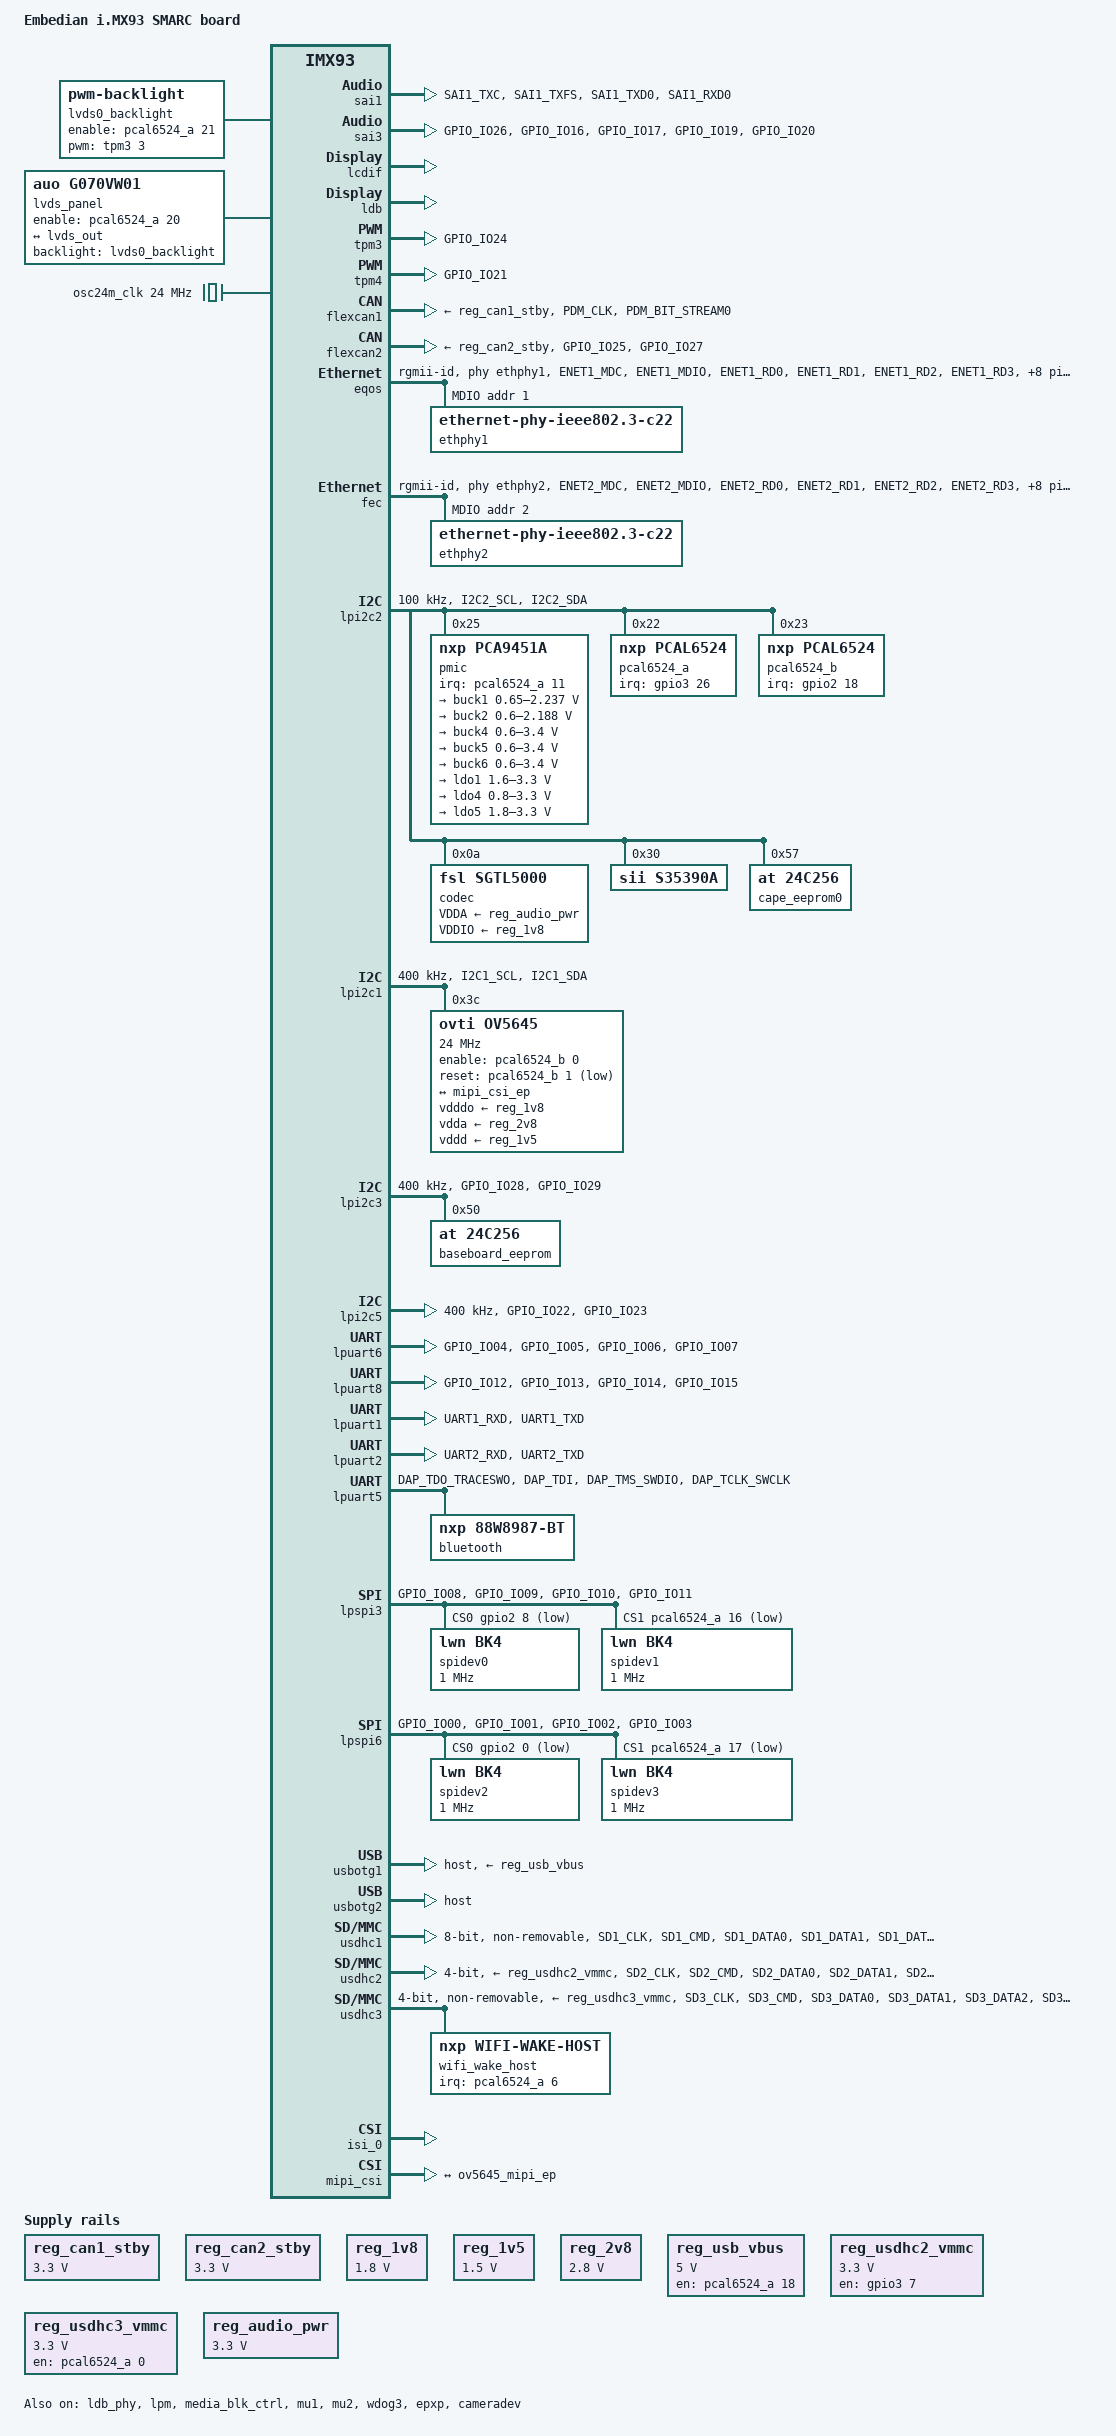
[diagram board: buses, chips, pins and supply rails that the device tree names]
// SPDX-License-Identifier: (GPL-2.0+ OR MIT)
/*
 * Copyright 2022 NXP
 * Copyright 2024 EMBEDIAN
 */

/dts-v1/;

#include <dt-bindings/usb/pd.h>
#include "../freescale/imx93.dtsi"

&ele_mu {
	memory-region = <&ele_reserved>;
};

/ {
	model = "Embedian i.MX93 SMARC board";
	compatible = "embedian,imx93-smarc", "fsl,imx93";

        chosen {
                stdout-path = &lpuart1;
        };

	reserved-memory {
		#address-cells = <2>;
		#size-cells = <2>;
		ranges;

		linux,cma {
			compatible = "shared-dma-pool";
			reusable;
			alloc-ranges = <0 0x80000000 0 0x40000000>;
			size = <0 0x10000000>;
			linux,cma-default;
		};

		ethosu_mem: ethosu_region@C0000000 {
			compatible = "shared-dma-pool";
			reusable;
			reg = <0x0 0xC0000000 0x0 0x10000000>;
		};

		vdev0vring0: vdev0vring0@a4000000 {
			reg = <0 0xa4000000 0 0x8000>;
			no-map;
		};

		vdev0vring1: vdev0vring1@a4008000 {
			reg = <0 0xa4008000 0 0x8000>;
			no-map;
		};

		vdev1vring0: vdev1vring0@a4000000 {
			reg = <0 0xa4010000 0 0x8000>;
			no-map;
		};

		vdev1vring1: vdev1vring1@a4018000 {
			reg = <0 0xa4018000 0 0x8000>;
			no-map;
		};

		rsc_table: rsc-table@2021e000 {
			reg = <0 0x2021e000 0 0x1000>;
			no-map;
		};

		vdevbuffer: vdevbuffer@a4020000 {
			compatible = "shared-dma-pool";
			reg = <0 0xa4020000 0 0x100000>;
			no-map;
		};

		ele_reserved: ele-reserved@a4120000 {
			compatible = "shared-dma-pool";
			reg = <0 0xa4120000 0 0x100000>;
			no-map;
		};
	};

	cm33: imx93-cm33 {
		compatible = "fsl,imx93-cm33";
		mbox-names = "tx", "rx", "rxdb";
		mboxes = <&mu1 0 1
			  &mu1 1 1
			  &mu1 3 1>;
		memory-region = <&vdevbuffer>, <&vdev0vring0>, <&vdev0vring1>,
				<&vdev1vring0>, <&vdev1vring1>, <&rsc_table>;
		fsl,startup-delay-ms = <500>;
	};

	ethosu {
		compatible = "arm,ethosu";
		fsl,cm33-proc = <&cm33>;
		memory-region = <&ethosu_mem>;
		power-domains = <&mlmix>;
	};

	lvds0_backlight: lvds0_backlight {
		compatible = "pwm-backlight";
		pwms = <&tpm3 3 100000 0>;
		enable-gpios = <&pcal6524_a 21 GPIO_ACTIVE_HIGH>;	/* Enable LCD0_BKLT pin */
		status = "okay";

		brightness-levels = < 0  1  2  3  4  5  6  7  8  9
				     10 11 12 13 14 15 16 17 18 19
				     20 21 22 23 24 25 26 27 28 29
				     30 31 32 33 34 35 36 37 38 39
				     40 41 42 43 44 45 46 47 48 49
				     50 51 52 53 54 55 56 57 58 59
				     60 61 62 63 64 65 66 67 68 69
				     70 71 72 73 74 75 76 77 78 79
				     80 81 82 83 84 85 86 87 88 89
				     90 91 92 93 94 95 96 97 98 99
				    100>;
		default-brightness-level = <80>;
	};

	lvds1_backlight: lvds1_backlight {
		compatible = "pwm-backlight";
		pwms = <&tpm4 1 100000 0>;
		enable-gpios = <&pcal6524_a 23 GPIO_ACTIVE_HIGH>;	/* Enable LCD1_BKLT pin */
		status = "disabled";

		brightness-levels = < 0  1  2  3  4  5  6  7  8  9
				     10 11 12 13 14 15 16 17 18 19
				     20 21 22 23 24 25 26 27 28 29
				     30 31 32 33 34 35 36 37 38 39
				     40 41 42 43 44 45 46 47 48 49
				     50 51 52 53 54 55 56 57 58 59
				     60 61 62 63 64 65 66 67 68 69
				     70 71 72 73 74 75 76 77 78 79
				     80 81 82 83 84 85 86 87 88 89
				     90 91 92 93 94 95 96 97 98 99
				    100>;
		default-brightness-level = <80>;
	};

	lvds_panel {
		compatible = "auo,g070vw01";
		backlight = <&lvds0_backlight>;
		enable-gpios = <&pcal6524_a 20 0>;	/* Enable LCD0_VDD_EN pin */

		port {
			panel_lvds_in: endpoint {
				remote-endpoint = <&lvds_out>;
			};
		};
	};

	reg_can1_stby: regulator-can1-stby {
		compatible = "regulator-fixed";
		regulator-name = "can1-stby";
		regulator-min-microvolt = <3300000>;
		regulator-max-microvolt = <3300000>;
	};

	reg_can2_stby: regulator-can2-stby {
		compatible = "regulator-fixed";
		regulator-name = "can2-stby";
		regulator-min-microvolt = <3300000>;
		regulator-max-microvolt = <3300000>;
	};

	reg_1v8: regulator-audio {
		compatible = "regulator-fixed";
		regulator-name = "1v8";
		regulator-min-microvolt = <1800000>;
		regulator-max-microvolt = <1800000>;
	};

	reg_1v5: 1v5 {
		compatible = "regulator-fixed";
		regulator-name = "1v5";
		regulator-min-microvolt = <1500000>;
		regulator-max-microvolt = <1500000>;
		regulator-always-on;
	};

	reg_2v8: 2v8 {
		compatible = "regulator-fixed";
		regulator-name = "2v8";
		regulator-min-microvolt = <2800000>;
		regulator-max-microvolt = <2800000>;
		regulator-always-on;
	};

	osc24m_clk: osc24m_clk {
		compatible = "fixed-clock";
		#clock-cells = <0>;
		clock-frequency = <24000000>;
	};

	reg_usb_vbus: regulator-vbus {
		compatible = "regulator-fixed";
		regulator-name = "USB_VBUS";
		regulator-min-microvolt = <5000000>;
		regulator-max-microvolt = <5000000>;
		gpio = <&pcal6524_a 18 GPIO_ACTIVE_HIGH>;
		enable-active-high;
		regulator-always-on;
	};

	reg_usdhc2_vmmc: regulator-usdhc2 {
		compatible = "regulator-fixed";
		pinctrl-names = "default";
		pinctrl-0 = <&pinctrl_reg_usdhc2_vmmc>;
		regulator-name = "VSD_3V3";
		regulator-min-microvolt = <3300000>;
		regulator-max-microvolt = <3300000>;
		gpio = <&gpio3 7 GPIO_ACTIVE_HIGH>;
		off-on-delay-us = <12000>;
		enable-active-high;
	};

	reg_usdhc3_vmmc: regulator-usdhc3 {
		compatible = "regulator-fixed";
		regulator-name = "WLAN_EN";
		regulator-min-microvolt = <3300000>;
		regulator-max-microvolt = <3300000>;
		gpio = <&pcal6524_a 0 GPIO_ACTIVE_HIGH>;
		/*
		 * IW612 wifi chip needs more delay than other wifi chips to complete
		 * the host interface initialization after power up, otherwise the
		 * internal state of IW612 may be unstable, resulting in the failure of
		 * the SDIO3.0 switch voltage.
		 */
		startup-delay-us = <20000>;
		enable-active-high;
	};

	reg_audio_pwr: regulator-audio-pwr {
		compatible = "regulator-fixed";
		regulator-name = "audio-pwr";
		regulator-min-microvolt = <3300000>;
		regulator-max-microvolt = <3300000>;
		regulator-always-on;
	};

 	sound-sgtl5000 {
 		compatible = "simple-audio-card";
 		simple-audio-card,name = "sgtl5000-audio";
 		simple-audio-card,format = "i2s";
 		simple-audio-card,widgets =
 			"Microphone", "Microphone Jack",
 			"Headphone", "Headphone Jack",
 			"Speaker", "Speaker Ext",
 			"Line", "Line In Jack";
 		simple-audio-card,routing =
 			"MIC_IN", "Microphone Jack",
 			"Microphone Jack", "Mic Bias",
 			"LINE_IN", "Line In Jack",
 			"Headphone Jack", "HP_OUT",
 			"Speaker Ext", "LINE_OUT";

 		simple-audio-card,cpu {
 			sound-dai = <&sai3>;
 			frame-master;
 			bitclock-master;
 		};

 		simple-audio-card,codec {
 			sound-dai = <&codec>;
 			frame-master;
 			bitclock-master;
 		};
 	};
};

/* I2S2 */
&sai1 {
	#sound-dai-cells = <0>;
	pinctrl-names = "default";
	pinctrl-0 = <&pinctrl_sai1>;
	assigned-clocks = <&clk IMX93_CLK_SAI1>;
	assigned-clock-parents = <&clk IMX93_CLK_AUDIO_PLL>;
	assigned-clock-rates = <24576000>;
	fsl,sai-mclk-direction-output;
	status = "okay";
};

/* I2S0 */
&sai3 {
	#sound-dai-cells = <0>;
	pinctrl-names = "default";
	pinctrl-0 = <&pinctrl_sai3>;
	assigned-clocks = <&clk IMX93_CLK_SAI3>;
	assigned-clock-parents = <&clk IMX93_CLK_AUDIO_PLL>;
	assigned-clock-rates = <24576000>;
	fsl,sai-mclk-direction-output;
	status = "okay";
};

&dphy {
	status = "disabled";
};

&dsi {
	status = "disabled";
	#address-cells = <1>;
	#size-cells = <0>;

	panel@0 {
		compatible = "raydium,rm67199";
		reg = <0>;
		dsi-lanes = <4>;
		video-mode = <2>;	/* 0: burst mode
					 * 1: non-burst mode with sync event
					 * 2: non-burst mode with sync pulse
					 */
		width-mm = <68>;
		height-mm = <121>;
		status = "okay";

		port {
			panel_in: endpoint {
			remote-endpoint = <&dsi_out>;
			};
		};
	};

	ports {
		port@1 {
			reg = <1>;

			dsi_out: endpoint {
				remote-endpoint = <&panel_in>;
			};
		};
	};
};

&lcdif {
	status = "okay";
	assigned-clock-rates = <498000000>, <32186880>, <400000000>, <133333333>;
};

&ldb {
	status = "okay";

	lvds-channel@0 {
		status = "okay";

		port@1 {
			reg = <1>;

			lvds_out: endpoint {
				remote-endpoint = <&panel_lvds_in>;
			};
		};
	};
};

&ldb_phy {
	status = "okay";
};

&tpm3 {
	pinctrl-names = "default";
	pinctrl-0 = <&pinctrl_pwm_lvds0>;
	status = "okay";
};

&tpm4 {
	pinctrl-names = "default";
	pinctrl-0 = <&pinctrl_pwm_lvds1>;
	status = "okay";
};

&flexcan1 {
	pinctrl-names = "default";
	pinctrl-0 = <&pinctrl_flexcan1>;
	xceiver-supply = <&reg_can1_stby>;
	status = "okay";
};

&flexcan2 {
	pinctrl-names = "default";
	pinctrl-0 = <&pinctrl_flexcan2>;
	xceiver-supply = <&reg_can2_stby>;
	status = "okay";
};

&eqos {
	pinctrl-names = "default";
	pinctrl-0 = <&pinctrl_eqos>;
	phy-mode = "rgmii-id";
	phy-handle = <&ethphy1>;
	status = "okay";

	mdio {
		compatible = "snps,dwmac-mdio";
		#address-cells = <1>;
		#size-cells = <0>;
		clock-frequency = <5000000>;

		ethphy1: ethernet-phy@1 {
			compatible = "ethernet-phy-ieee802.3-c22";
			reg = <1>;
			eee-broken-1000t;
		};
	};
};

&fec {
	pinctrl-names = "default";
	pinctrl-0 = <&pinctrl_fec>;
	phy-mode = "rgmii-id";
	phy-handle = <&ethphy2>;
	fsl,magic-packet;
	status = "okay";

	mdio {
		#address-cells = <1>;
		#size-cells = <0>;
		clock-frequency = <5000000>;

		ethphy2: ethernet-phy@2 {
			compatible = "ethernet-phy-ieee802.3-c22";
			reg = <2>;
			eee-broken-1000t;
		};
	};
};

&lpm {
	soc-supply = <&buck1>;
	status = "okay";
};

/* I2C_PM */
&lpi2c2 {
	#address-cells = <1>;
	#size-cells = <0>;
	clock-frequency = <100000>;
	pinctrl-names = "default", "sleep";
	pinctrl-0 = <&pinctrl_lpi2c2>;
	pinctrl-1 = <&pinctrl_lpi2c2>;
	status = "okay";

	pmic@25 {
		compatible = "nxp,pca9451a";
		reg = <0x25>;
		interrupt-parent = <&pcal6524_a>;
		interrupts = <11 IRQ_TYPE_EDGE_FALLING>;

		regulators {
			buck1: BUCK1 {
				regulator-name = "BUCK1";
				regulator-min-microvolt = <650000>;
				regulator-max-microvolt = <2237500>;
				regulator-boot-on;
				regulator-always-on;
				regulator-ramp-delay = <3125>;
			};

			buck2: BUCK2 {
				regulator-name = "BUCK2";
				regulator-min-microvolt = <600000>;
				regulator-max-microvolt = <2187500>;
				regulator-boot-on;
				regulator-always-on;
				regulator-ramp-delay = <3125>;
			};

			buck4: BUCK4{
				regulator-name = "BUCK4";
				regulator-min-microvolt = <600000>;
				regulator-max-microvolt = <3400000>;
				regulator-boot-on;
				regulator-always-on;
			};

			buck5: BUCK5{
				regulator-name = "BUCK5";
				regulator-min-microvolt = <600000>;
				regulator-max-microvolt = <3400000>;
				regulator-boot-on;
				regulator-always-on;
			};

			buck6: BUCK6 {
				regulator-name = "BUCK6";
				regulator-min-microvolt = <600000>;
				regulator-max-microvolt = <3400000>;
				regulator-boot-on;
				regulator-always-on;
			};

			ldo1: LDO1 {
				regulator-name = "LDO1";
				regulator-min-microvolt = <1600000>;
				regulator-max-microvolt = <3300000>;
				regulator-boot-on;
				regulator-always-on;
			};

			ldo4: LDO4 {
				regulator-name = "LDO4";
				regulator-min-microvolt = <800000>;
				regulator-max-microvolt = <3300000>;
				regulator-boot-on;
				regulator-always-on;
			};

			ldo5: LDO5 {
				regulator-name = "LDO5";
				regulator-min-microvolt = <1800000>;
				regulator-max-microvolt = <3300000>;
				regulator-boot-on;
				regulator-always-on;
			};
		};
	};

	/*
	 * PCAL6524 24-port GPIO expander
	 *  0-W_DISABLE1#
	 *  1-SD_INT#
	 *  2-WL_RESET#
	 *  3-BT_RESET#
	 *  4-WL_WAKE_OUT#
	 *  5-BT_WAKE_OUT#
	 *  6-WL_WAKE_IN#
         *  7-BT_WAKE_IN#
	 *  8-TPM_IRQ#
	 *  9-TPM_PP#
	 * 10-SD2_WP#
	 * 11-PMIC_INT#
	 * 12-WLAN_PWR_EN
	 * 13-ENET1_INT#
	 * 14-ENET2_INT#
	 * 15-x
	 * 16-SPI0_CS1
	 * 17-eSPI_CS1
	 * 18-USB1_EN
	 * 19-USB1_OC#
	 * 20-LCD0_VDD_EN
	 * 21-LCD0_BKLT_EN
	 * 22-LCD1_VDD_EN
	 * 23-LCD1_BKLT_EN
	 */
	pcal6524_a: gpio@22 {
		compatible = "nxp,pcal6524";
		pinctrl-names = "default";
		pinctrl-0 = <&pinctrl_pcal6524_a>;
		reg = <0x22>;
		gpio-controller;
		#gpio-cells = <2>;
		interrupt-controller;
		#interrupt-cells = <2>;
		interrupt-parent = <&gpio3>;
		interrupts = <26 IRQ_TYPE_LEVEL_LOW>;

		sd_int_hog {
			gpio-hog;
			gpios = <1 GPIO_ACTIVE_LOW>;
			input;
			line-name = "sd_int";
		};

		wl_reset_hog {
			gpio-hog;
			gpios = <2 GPIO_ACTIVE_LOW>;
			output-high;
			line-name = "wl_reset";
		};

		bt_reset_hog {
			gpio-hog;
			gpios = <3 GPIO_ACTIVE_LOW>;
			output-high;
			line-name = "bt_reset";
		};

		wl_wake_out_hog {
			gpio-hog;
			gpios = <4 GPIO_ACTIVE_LOW>;
			output-low;
			line-name = "wl_wake_out";
		};

		bt_wake_out_hog {
			gpio-hog;
			gpios = <5 GPIO_ACTIVE_LOW>;
			output-low;
			line-name = "bt_wake_out";
		};

		wl_wake_in_hog {
			gpio-hog;
			gpios = <6 GPIO_ACTIVE_LOW>;
			input;
			line-name = "wl_wake_in";
		};

		bt_wake_in_hog {
			gpio-hog;
			gpios = <7 GPIO_ACTIVE_LOW>;
			input;
			line-name = "bt_wake_in";
		};

		tpm_irq_hog {
			gpio-hog;
			gpios = <8 GPIO_ACTIVE_LOW>;
			input;
			line-name = "tpm_irq";
		};

		sd2_wp_hog {
			gpio-hog;
			gpios = <10 GPIO_ACTIVE_HIGH>;
			input;
			line-name = "sd2_wp";
		};

		pmic_int_hog {
			gpio-hog;
			gpios = <11 GPIO_ACTIVE_LOW>;
			input;
			line-name = "pmic_int";
		};

		enet1_int_hog {
			gpio-hog;
			gpios = <13 GPIO_ACTIVE_LOW>;
			input;
			line-name = "enet1_init";
		};

		enet2_int_hog {
			gpio-hog;
			gpios = <14 GPIO_ACTIVE_LOW>;
			input;
			line-name = "enet2_init";
		};

		usb0_oc_hog {
			gpio-hog;
			gpios = <19 GPIO_ACTIVE_LOW>;
			input;
			line-name = "usb0_oc";
		};
	};

	/*
	 * PCAL6524 24-port GPIO expander
	 *  0-GPIO0
	 *  1-GPIO1
	 *  2-GPIO2
	 *  3-GPIO3
	 *  4-GPIO4
	 *  5-GPIO6
	 *  6-GPIO7
	 *  7-GPIO8
	 *  8-GPIO9
	 *  9-GPIO10
	 * 10-GPIO11
	 * 11-GPIO12
	 * 12-GPIO13
	 * 13-x
	 * 14-x
	 * 15-IMX_RESET_OUT
	 * 16-LID#
	 * 17-SLEEP#
	 * 18-CHARGING#
	 * 19-BATLOW#
	 * 20-CHARGER_PRSNT#
	 * 21-BOOT_SEL0#
	 * 22-BOOT_SEL1#
	 * 23-BOOT_SEL2#
	 */
	pcal6524_b: gpio@23 {
		compatible = "nxp,pcal6524";
		pinctrl-names = "default";
		pinctrl-0 = <&pinctrl_pcal6524_b>;
		reg = <0x23>;
		gpio-controller;
		#gpio-cells = <2>;
		interrupt-controller;
		#interrupt-cells = <2>;
		interrupt-parent = <&gpio2>;
		interrupts = <18 IRQ_TYPE_LEVEL_LOW>;

		gpio6_hog {
			gpio-hog;
			gpios = <5 GPIO_ACTIVE_HIGH>;
			input;
			line-name = "gpio6";
		};

		gpio7_hog {
			gpio-hog;
			gpios = <6 GPIO_ACTIVE_HIGH>;
			input;
			line-name = "gpio7";
		};

		gpio8_hog {
			gpio-hog;
			gpios = <7 GPIO_ACTIVE_HIGH>;
			input;
			line-name = "gpio8";
		};

		gpio9_hog {
			gpio-hog;
			gpios = <8 GPIO_ACTIVE_HIGH>;
			input;
			line-name = "gpio9";
		};

		gpio10_hog {
			gpio-hog;
			gpios = <9 GPIO_ACTIVE_HIGH>;
			input;
			line-name = "gpio10";
		};

		gpio11_hog {
			gpio-hog;
			gpios = <10 GPIO_ACTIVE_HIGH>;
			input;
			line-name = "gpio11";
		};

		gpio12_hog {
			gpio-hog;
			gpios = <11 GPIO_ACTIVE_HIGH>;
			input;
			line-name = "gpio12";
		};

		gpio13_hog {
			gpio-hog;
			gpios = <12 GPIO_ACTIVE_HIGH>;
			input;
			line-name = "gpio13";
		};

		imx_reset_out_hog {
			gpio-hog;
			gpios = <15 GPIO_ACTIVE_HIGH>;
			output-low;
			line-name = "imx_reset_out";
		};

		lid_hog {
			gpio-hog;
			gpios = <16 GPIO_ACTIVE_LOW>;
			input;
			line-name = "lid";
		};

		sleep_hog {
			gpio-hog;
			gpios = <17 GPIO_ACTIVE_LOW>;
			input;
			line-name = "sleep";
		};

		charging_hog {
			gpio-hog;
			gpios = <18 GPIO_ACTIVE_LOW>;
			input;
			line-name = "charging";
		};

		batlow_hog {
			gpio-hog;
			gpios = <19 GPIO_ACTIVE_LOW>;
			input;
			line-name = "batlow";
		};

		charger_prsnt_hog {
			gpio-hog;
			gpios = <20 GPIO_ACTIVE_LOW>;
			input;
			line-name = "charger_prsnt";
		};

		boot_sel0_hog {
			gpio-hog;
			gpios = <21 GPIO_ACTIVE_LOW>;
			input;
			line-name = "boot_sel0";
		};

		boot_sel1_hog {
			gpio-hog;
			gpios = <22 GPIO_ACTIVE_LOW>;
			input;
			line-name = "boot_sel1";
		};

		boot_sel2_hog {
			gpio-hog;
			gpios = <23 GPIO_ACTIVE_LOW>;
			input;
			line-name = "boot_sel2";
		};
	};

	codec: sgtl5000@a {
		compatible = "fsl,sgtl5000";
		reg = <0x0a>;
		clocks = <&clk IMX93_CLK_SAI3_GATE>;
		clock-names = "mclk";
		VDDA-supply = <&reg_audio_pwr>;
		VDDIO-supply = <&reg_1v8>;
		#sound-dai-cells = <0>;
		status = "okay";
	};

	s35390a: s35390a@30 {
		compatible = "sii,s35390a";
		reg = <0x30>;
	};

	cape_eeprom0: cape_eeprom@57 {
		compatible = "at,24c256";
		reg = <0x57>;
	};

	/* TPM */
	st33htpi: st33htpi@2e{
		compatible = "st,st33htpm-i2c";
		reg = <0x2e>;
		status = "disabled";
	};
};

/* I2C_CAM0 */
&lpi2c1 {
	#address-cells = <1>;
	#size-cells = <0>;
	clock-frequency = <400000>;
	pinctrl-names = "default", "sleep";
	pinctrl-0 = <&pinctrl_lpi2c1>;
	pinctrl-1 = <&pinctrl_lpi2c1>;
	status = "okay";

	ov5645: ov5645_mipi@3c {
		compatible = "ovti,ov5645";
		reg = <0x3c>;
		clocks = <&osc24m_clk>;
		clock-frequency = <24000000>;
		clock-names = "xclk";
		vdddo-supply = <&reg_1v8>;
		vdda-supply = <&reg_2v8>;
		vddd-supply = <&reg_1v5>;
		csi_id = <1>;
		enable-gpios = <&pcal6524_b 0 GPIO_ACTIVE_HIGH>;	/* GPIO0 */
		reset-gpios = <&pcal6524_b 1 GPIO_ACTIVE_LOW>;		/* GPIO1 */
		status = "okay";

		port {
			ov5645_mipi_ep: endpoint {
				remote-endpoint = <&mipi_csi_ep>;
				data-lanes = <1 2>;
				clock-lanes = <0>;
			};
		};
	};
};

/* I2C_GP */
&lpi2c3 {
	#address-cells = <1>;
	#size-cells = <0>;
	clock-frequency = <400000>;
	pinctrl-names = "default", "sleep";
	pinctrl-0 = <&pinctrl_lpi2c3>;
	pinctrl-1 = <&pinctrl_lpi2c3>;
	status = "okay";

	baseboard_eeprom: baseboard_eeprom@50 {
	compatible = "at,24c256";
                reg = <0x50>;
	};
};

/* I2C_LCD */
&lpi2c5 {
	#address-cells = <1>;
	#size-cells = <0>;
	clock-frequency = <400000>;
	pinctrl-names = "default", "sleep";
	pinctrl-0 = <&pinctrl_lpi2c5>;
	pinctrl-1 = <&pinctrl_lpi2c5>;
	status = "okay";
};

&lpuart6 { /* SER0 */
	pinctrl-names = "default";
	pinctrl-0 = <&pinctrl_uart6>;
	status = "okay";
};

&lpuart8 { /* SER2 */
	pinctrl-names = "default";
	pinctrl-0 = <&pinctrl_uart8>;
	status = "okay";
};

&lpuart1 { /* console, SER3 */
	pinctrl-names = "default";
	pinctrl-0 = <&pinctrl_uart1>;
	status = "okay";
};

&lpuart2 { /* SER1 */
	pinctrl-names = "default";
	pinctrl-0 = <&pinctrl_uart2>;
	status = "okay";
};

&lpuart5 {
	/* BT */
	pinctrl-names = "default";
	pinctrl-0 = <&pinctrl_uart5>;
	status = "okay";

	bluetooth {
		compatible = "nxp,88w8987-bt";
	};
};

/* SPI0 */
&lpspi3 {
	fsl,spi-num-chipselects = <2>;
	pinctrl-names = "default";
	pinctrl-0 = <&pinctrl_lpspi3>;
	cs-gpios = <&gpio2 8 GPIO_ACTIVE_LOW>, <&pcal6524_a 16 GPIO_ACTIVE_LOW>;
	status = "okay";

	spidev0: spi@0 {
		reg = <0>;
		compatible = "lwn,bk4";
		spi-max-frequency = <1000000>;
	};

	spidev1: spi@1 {
		reg = <1>;
		compatible = "lwn,bk4";
		spi-max-frequency = <1000000>;
	};
};

/* eSPI */
&lpspi6 {
	fsl,spi-num-chipselects = <2>;
	pinctrl-names = "default";
	pinctrl-0 = <&pinctrl_lpspi6>;
	cs-gpios = <&gpio2 0 GPIO_ACTIVE_LOW>, <&pcal6524_a 17 GPIO_ACTIVE_LOW>;
	status = "okay";

	spidev2: spi@0 {
		reg = <0>;
		compatible = "lwn,bk4";
		spi-max-frequency = <1000000>;
	};

	spidev3: spi@1 {
		reg = <1>;
		compatible = "lwn,bk4";
		spi-max-frequency = <1000000>;
	};
};

&media_blk_ctrl {
	status = "okay";
};

&mu1 {
	status = "okay";
};

&mu2 {
	status = "okay";
};

&usbotg1 {
	vbus-supply = <&reg_usb_vbus>;
	dr_mode = "host";
	hnp-disable;
	srp-disable;
	adp-disable;
	usb-role-switch;
	disable-over-current;
	samsung,picophy-pre-emp-curr-control = <3>;
	samsung,picophy-dc-vol-level-adjust = <7>;
	status = "okay";
};

&usbotg2 {
	dr_mode = "host";
	hnp-disable;
	srp-disable;
	adp-disable;
	usb-role-switch;
	disable-over-current;
	samsung,picophy-pre-emp-curr-control = <3>;
	samsung,picophy-dc-vol-level-adjust = <7>;
	status = "okay";
};

&usdhc1 {
	pinctrl-names = "default", "state_100mhz", "state_200mhz";
	pinctrl-0 = <&pinctrl_usdhc1>;
	pinctrl-1 = <&pinctrl_usdhc1_100mhz>;
	pinctrl-2 = <&pinctrl_usdhc1_200mhz>;
	bus-width = <8>;
	non-removable;
	status = "okay";
};

&usdhc2 {
	pinctrl-names = "default", "state_100mhz", "state_200mhz";
	pinctrl-0 = <&pinctrl_usdhc2>, <&pinctrl_usdhc2_gpio>;
	pinctrl-1 = <&pinctrl_usdhc2_100mhz>, <&pinctrl_usdhc2_gpio>;
	pinctrl-2 = <&pinctrl_usdhc2_200mhz>, <&pinctrl_usdhc2_gpio>;
	cd-gpios = <&gpio3 00 GPIO_ACTIVE_LOW>;
	vmmc-supply = <&reg_usdhc2_vmmc>;
	bus-width = <4>;
	status = "okay";
	no-sdio;
	no-mmc;
};

&usdhc3 {
	pinctrl-names = "default", "state_100mhz", "state_200mhz";
	pinctrl-0 = <&pinctrl_usdhc3>;
	pinctrl-1 = <&pinctrl_usdhc3_100mhz>;
	pinctrl-2 = <&pinctrl_usdhc3_200mhz>;
	vmmc-supply = <&reg_usdhc3_vmmc>;
	pinctrl-assert-gpios = <&pcal6524_a 12 GPIO_ACTIVE_HIGH>;
	bus-width = <4>;
	keep-power-in-suspend;
	non-removable;
	wakeup-source;
	fsl,sdio-async-interrupt-enabled;
	status = "okay";

	wifi_wake_host {
		compatible = "nxp,wifi-wake-host";
		interrupt-parent = <&pcal6524_a>;
		interrupts = <6 IRQ_TYPE_LEVEL_LOW>;
		interrupt-names = "host-wake";
	};
};

&wdog3 {
	status = "okay";
};

&iomuxc {
	pinctrl_flexcan1: flexcan1grp {
		fsl,pins = <
			MX93_PAD_PDM_CLK__CAN1_TX		0x139e
			MX93_PAD_PDM_BIT_STREAM0__CAN1_RX	0x139e
		>;
	};

	pinctrl_flexcan2: flexcan2grp {
		fsl,pins = <
			MX93_PAD_GPIO_IO25__CAN2_TX	0x139e
			MX93_PAD_GPIO_IO27__CAN2_RX	0x139e
		>;
	};

	/* I2C_CAM0 */
	pinctrl_lpi2c1: lpi2c1grp {
		fsl,pins = <
			MX93_PAD_I2C1_SCL__LPI2C1_SCL			0x40000b9e
			MX93_PAD_I2C1_SDA__LPI2C1_SDA			0x40000b9e
		>;
	};

	pinctrl_lpi2c2: lpi2c2grp {
		fsl,pins = <
			MX93_PAD_I2C2_SCL__LPI2C2_SCL			0x40000b9e
			MX93_PAD_I2C2_SDA__LPI2C2_SDA			0x40000b9e
		>;
	};

	pinctrl_lpi2c3: lpi2c3grp {
		fsl,pins = <
			MX93_PAD_GPIO_IO28__LPI2C3_SDA			0x40000b9e
			MX93_PAD_GPIO_IO29__LPI2C3_SCL			0x40000b9e
		>;
	};

	pinctrl_lpi2c5: lpi2c5grp {
		fsl,pins = <
			MX93_PAD_GPIO_IO22__LPI2C5_SDA			0x40000b9e
			MX93_PAD_GPIO_IO23__LPI2C5_SCL			0x40000b9e
		>;
	};

	pinctrl_pcal6524_a: pcal6524_agrp {
		fsl,pins = <
			MX93_PAD_CCM_CLKO1__GPIO3_IO26			0x31e
                >;
        };

	pinctrl_pcal6524_b: pcal6524_bgrp {
		fsl,pins = <
			MX93_PAD_GPIO_IO18__GPIO2_IO18			0x31e
		>;
	};

	pinctrl_eqos: eqosgrp {
		fsl,pins = <
			MX93_PAD_ENET1_MDC__ENET_QOS_MDC			0x57e
			MX93_PAD_ENET1_MDIO__ENET_QOS_MDIO			0x57e
			MX93_PAD_ENET1_RD0__ENET_QOS_RGMII_RD0			0x57e
			MX93_PAD_ENET1_RD1__ENET_QOS_RGMII_RD1			0x57e
			MX93_PAD_ENET1_RD2__ENET_QOS_RGMII_RD2			0x57e
			MX93_PAD_ENET1_RD3__ENET_QOS_RGMII_RD3			0x57e
			MX93_PAD_ENET1_RXC__CCM_ENET_QOS_CLOCK_GENERATE_RX_CLK	0x5fe
			MX93_PAD_ENET1_RX_CTL__ENET_QOS_RGMII_RX_CTL		0x57e
			MX93_PAD_ENET1_TD0__ENET_QOS_RGMII_TD0			0x57e
			MX93_PAD_ENET1_TD1__ENET_QOS_RGMII_TD1			0x57e
			MX93_PAD_ENET1_TD2__ENET_QOS_RGMII_TD2			0x57e
			MX93_PAD_ENET1_TD3__ENET_QOS_RGMII_TD3			0x57e
			MX93_PAD_ENET1_TXC__CCM_ENET_QOS_CLOCK_GENERATE_TX_CLK	0x5fe
			MX93_PAD_ENET1_TX_CTL__ENET_QOS_RGMII_TX_CTL		0x57e
		>;
	};

	pinctrl_fec: fecgrp {
		fsl,pins = <
			MX93_PAD_ENET2_MDC__ENET1_MDC			0x57e
			MX93_PAD_ENET2_MDIO__ENET1_MDIO			0x57e
			MX93_PAD_ENET2_RD0__ENET1_RGMII_RD0		0x57e
			MX93_PAD_ENET2_RD1__ENET1_RGMII_RD1		0x57e
			MX93_PAD_ENET2_RD2__ENET1_RGMII_RD2		0x57e
			MX93_PAD_ENET2_RD3__ENET1_RGMII_RD3		0x57e
			MX93_PAD_ENET2_RXC__ENET1_RGMII_RXC		0x5fe
			MX93_PAD_ENET2_RX_CTL__ENET1_RGMII_RX_CTL	0x57e
			MX93_PAD_ENET2_TD0__ENET1_RGMII_TD0		0x57e
			MX93_PAD_ENET2_TD1__ENET1_RGMII_TD1		0x57e
			MX93_PAD_ENET2_TD2__ENET1_RGMII_TD2		0x57e
			MX93_PAD_ENET2_TD3__ENET1_RGMII_TD3		0x57e
			MX93_PAD_ENET2_TXC__ENET1_RGMII_TXC		0x5fe
			MX93_PAD_ENET2_TX_CTL__ENET1_RGMII_TX_CTL	0x57e
		>;
	};

	pinctrl_uart1: uart1grp {
		fsl,pins = <
			MX93_PAD_UART1_RXD__LPUART1_RX			0x31e
			MX93_PAD_UART1_TXD__LPUART1_TX			0x31e
		>;
	};

	pinctrl_uart2: uart2grp {
		fsl,pins = <
			MX93_PAD_UART2_RXD__LPUART2_RX			0x31e
			MX93_PAD_UART2_TXD__LPUART2_TX			0x31e
		>;
	};

	pinctrl_uart5: uart5grp {
		fsl,pins = <
			MX93_PAD_DAP_TDO_TRACESWO__LPUART5_TX	0x31e
			MX93_PAD_DAP_TDI__LPUART5_RX		0x31e
			MX93_PAD_DAP_TMS_SWDIO__LPUART5_RTS_B	0x31e
			MX93_PAD_DAP_TCLK_SWCLK__LPUART5_CTS_B	0x31e
		>;
	};

	pinctrl_uart6: uart6grp {
		fsl,pins = <
			MX93_PAD_GPIO_IO04__LPUART6_TX		0x31e
			MX93_PAD_GPIO_IO05__LPUART6_RX		0x31e
			MX93_PAD_GPIO_IO06__LPUART6_CTS_B	0x31e
			MX93_PAD_GPIO_IO07__LPUART6_RTS_B	0x31e
		>;
	};

        pinctrl_uart8: uart8grp {
		fsl,pins = <
			MX93_PAD_GPIO_IO12__LPUART8_TX		0x31e
			MX93_PAD_GPIO_IO13__LPUART8_RX		0x31e
			MX93_PAD_GPIO_IO14__LPUART8_CTS_B	0x31e
			MX93_PAD_GPIO_IO15__LPUART8_RTS_B	0x31e
		>;
	};

	pinctrl_pwm_lvds0: pwmlvds0grp {
		fsl,pins = <
			MX93_PAD_GPIO_IO24__TPM3_CH3		0x57e
                >;
        };

	pinctrl_pwm_lvds1: pwmlvds1grp {
		fsl,pins = <
			MX93_PAD_GPIO_IO21__TPM4_CH1		0x57e
		>;
	};

	pinctrl_lpspi3: lpspi3grp {
		fsl,pins = <
			MX93_PAD_GPIO_IO08__GPIO2_IO08		0x3fe
			MX93_PAD_GPIO_IO09__LPSPI3_SIN		0x3fe
			MX93_PAD_GPIO_IO10__LPSPI3_SOUT		0x3fe
			MX93_PAD_GPIO_IO11__LPSPI3_SCK		0x3fe
		>;
	};

	pinctrl_lpspi6: lpspi6grp {
		fsl,pins = <
			MX93_PAD_GPIO_IO00__GPIO2_IO00		0x3fe
			MX93_PAD_GPIO_IO01__LPSPI6_SIN		0x3fe
			MX93_PAD_GPIO_IO02__LPSPI6_SOUT		0x3fe
			MX93_PAD_GPIO_IO03__LPSPI6_SCK		0x3fe
		>;
	};

	/* need to config the SION for data and cmd pad, refer to ERR052021 */
	pinctrl_usdhc1: usdhc1grp {
		fsl,pins = <
			MX93_PAD_SD1_CLK__USDHC1_CLK		0x1582
			MX93_PAD_SD1_CMD__USDHC1_CMD		0x40001382
			MX93_PAD_SD1_DATA0__USDHC1_DATA0	0x40001382
			MX93_PAD_SD1_DATA1__USDHC1_DATA1	0x40001382
			MX93_PAD_SD1_DATA2__USDHC1_DATA2	0x40001382
			MX93_PAD_SD1_DATA3__USDHC1_DATA3	0x40001382
			MX93_PAD_SD1_DATA4__USDHC1_DATA4	0x40001382
			MX93_PAD_SD1_DATA5__USDHC1_DATA5	0x40001382
			MX93_PAD_SD1_DATA6__USDHC1_DATA6	0x40001382
			MX93_PAD_SD1_DATA7__USDHC1_DATA7	0x40001382
			MX93_PAD_SD1_STROBE__USDHC1_STROBE	0x1582
		>;
	};

	/* need to config the SION for data and cmd pad, refer to ERR052021 */
	pinctrl_usdhc1_100mhz: usdhc1-100mhzgrp {
		fsl,pins = <
			MX93_PAD_SD1_CLK__USDHC1_CLK		0x158e
			MX93_PAD_SD1_CMD__USDHC1_CMD		0x4000138e
			MX93_PAD_SD1_DATA0__USDHC1_DATA0	0x4000138e
			MX93_PAD_SD1_DATA1__USDHC1_DATA1	0x4000138e
			MX93_PAD_SD1_DATA2__USDHC1_DATA2	0x4000138e
			MX93_PAD_SD1_DATA3__USDHC1_DATA3	0x4000138e
			MX93_PAD_SD1_DATA4__USDHC1_DATA4	0x4000138e
			MX93_PAD_SD1_DATA5__USDHC1_DATA5	0x4000138e
			MX93_PAD_SD1_DATA6__USDHC1_DATA6	0x4000138e
			MX93_PAD_SD1_DATA7__USDHC1_DATA7	0x4000138e
			MX93_PAD_SD1_STROBE__USDHC1_STROBE	0x158e
		>;
	};

	/* need to config the SION for data and cmd pad, refer to ERR052021 */
	pinctrl_usdhc1_200mhz: usdhc1-200mhzgrp {
		fsl,pins = <
			MX93_PAD_SD1_CLK__USDHC1_CLK		0x15fe
			MX93_PAD_SD1_CMD__USDHC1_CMD		0x400013fe
			MX93_PAD_SD1_DATA0__USDHC1_DATA0	0x400013fe
			MX93_PAD_SD1_DATA1__USDHC1_DATA1	0x400013fe
			MX93_PAD_SD1_DATA2__USDHC1_DATA2	0x400013fe
			MX93_PAD_SD1_DATA3__USDHC1_DATA3	0x400013fe
			MX93_PAD_SD1_DATA4__USDHC1_DATA4	0x400013fe
			MX93_PAD_SD1_DATA5__USDHC1_DATA5	0x400013fe
			MX93_PAD_SD1_DATA6__USDHC1_DATA6	0x400013fe
			MX93_PAD_SD1_DATA7__USDHC1_DATA7	0x400013fe
			MX93_PAD_SD1_STROBE__USDHC1_STROBE	0x15fe
		>;
	};

	pinctrl_reg_usdhc2_vmmc: regusdhc2vmmcgrp {
		fsl,pins = <
			MX93_PAD_SD2_RESET_B__GPIO3_IO07	0x31e
		>;
	};

	pinctrl_usdhc2_gpio: usdhc2gpiogrp {
		fsl,pins = <
			MX93_PAD_SD2_CD_B__GPIO3_IO00		0x31e
		>;
	};

	/* need to config the SION for data and cmd pad, refer to ERR052021 */
	pinctrl_usdhc2: usdhc2grp {
		fsl,pins = <
			MX93_PAD_SD2_CLK__USDHC2_CLK		0x1582
			MX93_PAD_SD2_CMD__USDHC2_CMD		0x40001382
			MX93_PAD_SD2_DATA0__USDHC2_DATA0	0x40001382
			MX93_PAD_SD2_DATA1__USDHC2_DATA1	0x40001382
			MX93_PAD_SD2_DATA2__USDHC2_DATA2	0x40001382
			MX93_PAD_SD2_DATA3__USDHC2_DATA3	0x40001382
			MX93_PAD_SD2_VSELECT__USDHC2_VSELECT	0x51e
		>;
	};

	/* need to config the SION for data and cmd pad, refer to ERR052021 */
	pinctrl_usdhc2_100mhz: usdhc2-100mhzgrp {
		fsl,pins = <
			MX93_PAD_SD2_CLK__USDHC2_CLK		0x158e
			MX93_PAD_SD2_CMD__USDHC2_CMD		0x4000138e
			MX93_PAD_SD2_DATA0__USDHC2_DATA0	0x4000138e
			MX93_PAD_SD2_DATA1__USDHC2_DATA1	0x4000138e
			MX93_PAD_SD2_DATA2__USDHC2_DATA2	0x4000138e
			MX93_PAD_SD2_DATA3__USDHC2_DATA3	0x4000138e
			MX93_PAD_SD2_VSELECT__USDHC2_VSELECT	0x51e
		>;
	};

	/* need to config the SION for data and cmd pad, refer to ERR052021 */
	pinctrl_usdhc2_200mhz: usdhc2-200mhzgrp {
		fsl,pins = <
			MX93_PAD_SD2_CLK__USDHC2_CLK		0x15fe
			MX93_PAD_SD2_CMD__USDHC2_CMD		0x400013fe
			MX93_PAD_SD2_DATA0__USDHC2_DATA0	0x400013fe
			MX93_PAD_SD2_DATA1__USDHC2_DATA1	0x400013fe
			MX93_PAD_SD2_DATA2__USDHC2_DATA2	0x400013fe
			MX93_PAD_SD2_DATA3__USDHC2_DATA3	0x400013fe
			MX93_PAD_SD2_VSELECT__USDHC2_VSELECT	0x51e
		>;
	};

	/* need to config the SION for data and cmd pad, refer to ERR052021 */
	pinctrl_usdhc3: usdhc3grp {
		fsl,pins = <
			MX93_PAD_SD3_CLK__USDHC3_CLK		0x1582
			MX93_PAD_SD3_CMD__USDHC3_CMD		0x40001382
			MX93_PAD_SD3_DATA0__USDHC3_DATA0	0x40001382
			MX93_PAD_SD3_DATA1__USDHC3_DATA1	0x40001382
			MX93_PAD_SD3_DATA2__USDHC3_DATA2	0x40001382
			MX93_PAD_SD3_DATA3__USDHC3_DATA3	0x40001382
		>;
	};

	/* need to config the SION for data and cmd pad, refer to ERR052021 */
	pinctrl_usdhc3_100mhz: usdhc3-100mhzgrp {
		fsl,pins = <
			MX93_PAD_SD3_CLK__USDHC3_CLK		0x158e
			MX93_PAD_SD3_CMD__USDHC3_CMD		0x4000138e
			MX93_PAD_SD3_DATA0__USDHC3_DATA0	0x4000138e
			MX93_PAD_SD3_DATA1__USDHC3_DATA1	0x4000138e
			MX93_PAD_SD3_DATA2__USDHC3_DATA2	0x4000138e
			MX93_PAD_SD3_DATA3__USDHC3_DATA3	0x4000138e
		>;
	};

	/* need to config the SION for data and cmd pad, refer to ERR052021 */
	pinctrl_usdhc3_200mhz: usdhc3-200mhzgrp {
		fsl,pins = <
			MX93_PAD_SD3_CLK__USDHC3_CLK		0x15fe
			MX93_PAD_SD3_CMD__USDHC3_CMD		0x400013fe
			MX93_PAD_SD3_DATA0__USDHC3_DATA0	0x400013fe
			MX93_PAD_SD3_DATA1__USDHC3_DATA1	0x400013fe
			MX93_PAD_SD3_DATA2__USDHC3_DATA2	0x400013fe
			MX93_PAD_SD3_DATA3__USDHC3_DATA3	0x400013fe
		>;
	};

	pinctrl_usdhc3_wlan: usdhc3wlangrp {
		fsl,pins = <
			MX93_PAD_CCM_CLKO1__GPIO3_IO26		0x31e
		>;
	};

	pinctrl_sai1: sai1grp {
		fsl,pins = <
			MX93_PAD_SAI1_TXC__SAI1_TX_BCLK			0x31e
			MX93_PAD_SAI1_TXFS__SAI1_TX_SYNC		0x31e
			MX93_PAD_SAI1_TXD0__SAI1_TX_DATA00		0x31e
			MX93_PAD_SAI1_RXD0__SAI1_RX_DATA00		0x31e
		>;
	};

	pinctrl_sai3: sai3grp {
		fsl,pins = <
			MX93_PAD_GPIO_IO26__SAI3_TX_SYNC		0x31e
			MX93_PAD_GPIO_IO16__SAI3_TX_BCLK		0x31e
			MX93_PAD_GPIO_IO17__SAI3_MCLK			0x31e
			MX93_PAD_GPIO_IO19__SAI3_TX_DATA00		0x31e
			MX93_PAD_GPIO_IO20__SAI3_RX_DATA00		0x31e
		>;
	};

	pinctrl_pdm: pdmgrp {
		fsl,pins = <
			MX93_PAD_PDM_CLK__PDM_CLK			0x31e
			MX93_PAD_PDM_BIT_STREAM0__PDM_BIT_STREAM00	0x31e
			MX93_PAD_PDM_BIT_STREAM1__PDM_BIT_STREAM01	0x31e
		>;
	};

	pinctrl_spdif: spdifgrp {
		fsl,pins = <
			MX93_PAD_GPIO_IO22__SPDIF_IN		0x31e
			MX93_PAD_GPIO_IO23__SPDIF_OUT		0x31e
		>;
	};
};

&epxp {
	status = "okay";
};

&cameradev {
	status = "okay";
};

&isi_0 {
	status = "okay";

	cap_device {
		status = "okay";
	};
};

&mipi_csi {
	#address-cells = <1>;
	#size-cells = <0>;

	status = "okay";

	port@0 {
		reg = <0>;
		mipi_csi_ep: endpoint {
			remote-endpoint = <&ov5645_mipi_ep>;
			data-lanes = <2>;
			cfg-clk-range = <28>;
			hs-clk-range = <0x2b>;
			bus-type = <4>;
		};
	};
};
